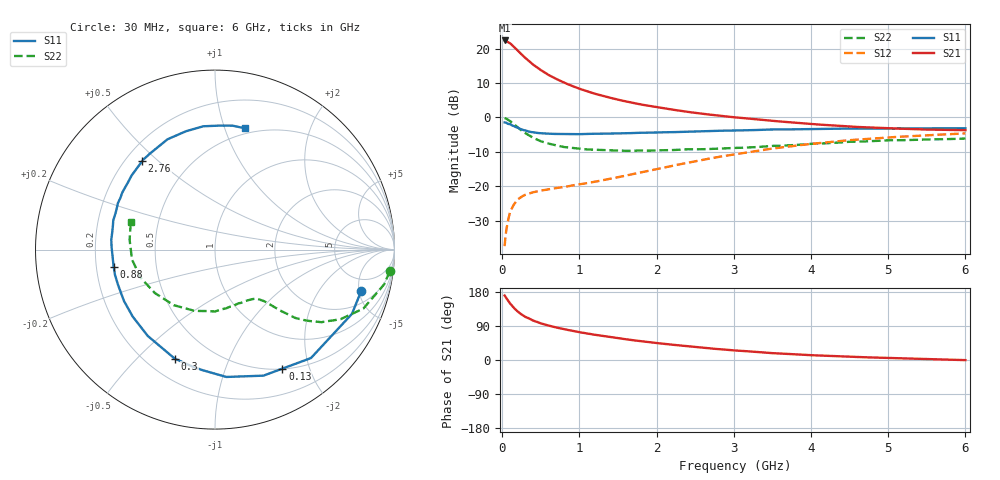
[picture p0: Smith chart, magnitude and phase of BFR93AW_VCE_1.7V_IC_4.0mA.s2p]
! Infineon Technologies  Discrete & RF Semiconductors
! BFR93AW
! VCE =  1.7 V,  IC =  4.0 mA
! Common Emitter S-Parameters:  Nov 2015
# GHz  S  MA  R  50
!  f  S11  S21  S12  S22
! GHz  MAG  ANG  MAG  ANG  MAG  ANG  MAG  ANG
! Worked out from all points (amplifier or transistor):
!   206 points, 30 MHz to 6 GHz, reference 50 ohm
!   highest |S21| = 22.4 dB at 30 MHz (marker M1)
!   |S21| within 3 dB of that: start of sweep to 203.1 MHz
!   unconditionally stable (mu >= 1): 992.2 MHz to 2.524 GHz
!   at 200 MHz: K = 0.26, MSG = 21.7 dB, |S12| = -23.8 dB
!   at 1.56 GHz: K = 1.13, MAG = 8.8 dB, |S12| = -17.1 dB
!   at 6 GHz: K = 0.98, MSG = 0.5 dB, |S12| = -4.6 dB
!   S11 on the Smith chart (normalised r, x): 30 MHz: 3.18, -5.23; 130 MHz: 0.50, -1.60; 300 MHz: 0.31, -0.65; 880 MHz: 0.27, -0.08; 2.76 GHz: 0.27, +0.44; 6 GHz: 0.45, +1.17
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0.03  0.8463 -16.0  13.21 170.3  0.0134 80.8  0.9808 -7.1
0.05  0.8431 -25.1  13.01 163.8  0.0222 77.5  0.9625 -11.6
0.1  0.8068 -48.5  12.06 149.4  0.0417 66.2  0.89 -21.6
0.13  0.7621 -60.5  11.18 142.4  0.0491 60.0  0.8341 -25.8
0.15  0.7523 -69.0  10.7 137.2  0.0542 56.9  0.7997 -29.0
0.2  0.7124 -84.9  9.427 127.7  0.0643 51.2  0.7178 -34.3
0.24  0.6753 -95.9  8.486 121.5  0.0691 47.2  0.6592 -37.1
0.3  0.6474 -110.3  7.322 113.6  0.0752 43.7  0.5897 -40.3
0.4  0.6097 -127.9  5.873 103.9  0.0816 40.3  0.5056 -42.8
0.5  0.5911 -140.9  4.889 96.5  0.0863 39.1  0.4503 -44.4
0.6  0.5823 -150.6  4.154 90.7  0.0899 40.0  0.4163 -45.4
0.7  0.5757 -158.8  3.634 85.7  0.0941 40.6  0.392 -46.7
0.88  0.5724 -170.2  2.949 78.1  0.1014 44.0  0.363 -49.3
1.04  0.5731 -178.5  2.53 72.0  0.108 46.7  0.3476 -52.4
1.2  0.5805 174.6  2.215 66.6  0.1161 49.7  0.3391 -55.9
1.5  0.5897 164.0  1.813 57.6  0.1351 54.8  0.3308 -63.7
2.02  0.6068 147.9  1.4 44.3  0.1795 59.6  0.3329 -79.2
2.76  0.6384 129.5  1.078 29.4  0.2617 59.1  0.3504 -102.2
3.1  0.6491 121.7  0.984 24.1  0.3016 56.9  0.3624 -112.8
4.1  0.68 102.1  0.789 11.9  0.4231 46.1  0.4167 -147.3
5.1  0.6915 87.0  0.691 4.7  0.5205 33.0  0.4662 -175.8
6  0.6959 76.3  0.654 -0.3  0.5867 21.9  0.4935 161.8
